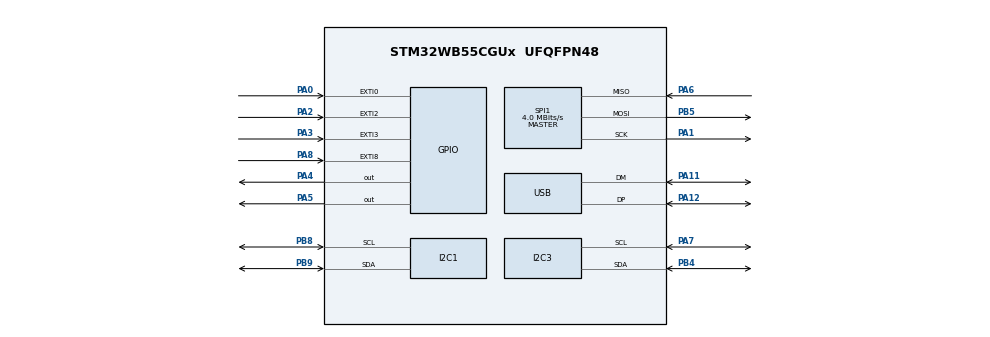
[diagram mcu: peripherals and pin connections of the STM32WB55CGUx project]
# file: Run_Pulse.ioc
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Dma.I2C1_RX.0.Direction=DMA_PERIPH_TO_MEMORY
Dma.I2C1_RX.0.EventEnable=DISABLE
Dma.I2C1_RX.0.Instance=DMA1_Channel1
Dma.I2C1_RX.0.MemDataAlignment=DMA_MDATAALIGN_BYTE
Dma.I2C1_RX.0.MemInc=DMA_MINC_ENABLE
Dma.I2C1_RX.0.Mode=DMA_NORMAL
Dma.I2C1_RX.0.PeriphDataAlignment=DMA_PDATAALIGN_BYTE
Dma.I2C1_RX.0.PeriphInc=DMA_PINC_DISABLE
Dma.I2C1_RX.0.Polarity=HAL_DMAMUX_REQ_GEN_RISING
Dma.I2C1_RX.0.Priority=DMA_PRIORITY_LOW
Dma.I2C1_RX.0.RequestNumber=1
Dma.I2C1_RX.0.SignalID=NONE
Dma.I2C1_RX.0.SyncEnable=DISABLE
Dma.I2C1_RX.0.SyncPolarity=HAL_DMAMUX_SYNC_NO_EVENT
Dma.I2C1_RX.0.SyncRequestNumber=1
Dma.I2C1_RX.0.SyncSignalID=NONE
Dma.I2C1_TX.1.Direction=DMA_MEMORY_TO_PERIPH
Dma.I2C1_TX.1.EventEnable=DISABLE
Dma.I2C1_TX.1.Instance=DMA1_Channel2
Dma.I2C1_TX.1.MemDataAlignment=DMA_MDATAALIGN_BYTE
Dma.I2C1_TX.1.MemInc=DMA_MINC_ENABLE
Dma.I2C1_TX.1.Mode=DMA_NORMAL
Dma.I2C1_TX.1.PeriphDataAlignment=DMA_PDATAALIGN_BYTE
Dma.I2C1_TX.1.PeriphInc=DMA_PINC_DISABLE
Dma.I2C1_TX.1.Polarity=HAL_DMAMUX_REQ_GEN_RISING
Dma.I2C1_TX.1.Priority=DMA_PRIORITY_LOW
Dma.I2C1_TX.1.RequestNumber=1
Dma.I2C1_TX.1.SignalID=NONE
Dma.I2C1_TX.1.SyncEnable=DISABLE
Dma.I2C1_TX.1.SyncPolarity=HAL_DMAMUX_SYNC_NO_EVENT
Dma.I2C1_TX.1.SyncRequestNumber=1
Dma.I2C1_TX.1.SyncSignalID=NONE
Dma.Request0=I2C1_RX
Dma.Request1=I2C1_TX
FREERTOS.Tasks01=defaultTask,24,128,StartDefaultTask,Default,NULL,Dynamic,NULL,NULL
FREERTOS.configTOTAL_HEAP_SIZE=160384
FREERTOS.configUSE_NEWLIB_REENTRANT=1
I2C1.Timing=0x10B17DB5
I2C3.Timing=0x10B17DB5
Mcu.Family=STM32WB
Mcu.Name=STM32WB55CGUx
Mcu.Package=UFQFPN48
NVIC.DMA1_Channel1_IRQn=true\:6\:0\:true\:false\:true\:true\:false\:true\:true
NVIC.DMA1_Channel2_IRQn=true\:6\:0\:true\:false\:true\:true\:false\:true\:true
NVIC.HSEM_IRQn=true\:5\:0\:false\:false\:true\:true\:false\:true\:true
NVIC.I2C1_ER_IRQn=true\:6\:0\:true\:false\:true\:true\:true\:true\:true
NVIC.I2C1_EV_IRQn=true\:6\:0\:true\:false\:true\:true\:true\:true\:true
NVIC.IPCC_C1_RX_IRQn=true\:5\:0\:false\:false\:true\:true\:true\:true\:true
NVIC.IPCC_C1_TX_IRQn=true\:5\:0\:false\:false\:true\:true\:true\:true\:true
NVIC.PriorityGroup=NVIC_PRIORITYGROUP_4
NVIC.RTC_WKUP_IRQn=true\:5\:0\:false\:false\:true\:true\:true\:true\:true
NVIC.TIM1_UP_TIM16_IRQn=true\:15\:0\:false\:false\:true\:false\:false\:true\:true
NVIC.TimeBase=TIM1_UP_TIM16_IRQn
NVIC.TimeBaseIP=TIM16
NVIC.USB_LP_IRQn=true\:5\:0\:true\:false\:true\:true\:false\:true\:true
OSC_IN.Mode=HSE-External-Oscillator
OSC_IN.Signal=RCC_OSC_IN
OSC_OUT.Mode=HSE-External-Oscillator
OSC_OUT.Signal=RCC_OSC_OUT
PA0.Signal=GPXTI0
PA1.Mode=Full_Duplex_Master
PA1.Signal=SPI1_SCK
PA11.Mode=Device
PA11.Signal=USB_DM
PA12.Mode=Device
PA12.Signal=USB_DP
PA13.Mode=Trace_Asynchronous_SW
PA13.Signal=SYS_JTMS-SWDIO
PA14.Mode=Trace_Asynchronous_SW
PA14.Signal=SYS_JTCK-SWCLK
PA2.Signal=GPXTI2
PA3.Signal=GPXTI3
PA4.PinState=GPIO_PIN_SET
PA4.Signal=GPIO_Output
PA5.Signal=GPIO_Output
PA6.Mode=Full_Duplex_Master
PA6.Signal=SPI1_MISO
PA7.Mode=I2C
PA7.Signal=I2C3_SCL
PA8.Signal=GPXTI8
PB3.Mode=Trace_Asynchronous_SW
PB3.Signal=SYS_JTDO-SWO
PB4.Mode=I2C
PB4.Signal=I2C3_SDA
PB5.Mode=Full_Duplex_Master
PB5.Signal=SPI1_MOSI
PB8.Mode=I2C
PB8.Signal=I2C1_SCL
PB9.Mode=I2C
PB9.Signal=I2C1_SDA
PC14-OSC32_IN.Mode=LSE-External-Oscillator
PC14-OSC32_IN.Signal=RCC_OSC32_IN
PC15-OSC32_OUT.Mode=LSE-External-Oscillator
PC15-OSC32_OUT.Signal=RCC_OSC32_OUT
ProjectManager.HeapSize=0x200
ProjectManager.StackSize=0x400
ProjectManager.TargetToolchain=STM32CubeIDE
RCC.ADCFreq_Value=48000000
RCC.AHB2CLKDivider=RCC_SYSCLK_DIV2
RCC.AHBFreq_Value=64000000
RCC.APB1Freq_Value=64000000
RCC.APB1TimFreq_Value=64000000
RCC.APB2Freq_Value=64000000
RCC.APB2TimFreq_Value=64000000
RCC.APB3Freq_Value=16000000
RCC.CortexFreq_Value=64000000
RCC.HCLKFreq_Value=64000000
RCC.HSE_VALUE=32000000
RCC.HSI48_VALUE=48000000
RCC.HSI_VALUE=16000000
RCC.PLLN=32
RCC.PLLSAI1N=24
RCC.SYSCLKFreq_VALUE=64000000
RCC.SYSCLKSource=RCC_SYSCLKSOURCE_PLLCLK
RCC.USBFreq_Value=48000000
RCC.VCOOutputFreq_Value=128000000
RF1.Mode=RF1_Activate
RF1.Signal=RF_RF1
SPI1.BaudRatePrescaler=SPI_BAUDRATEPRESCALER_16
SPI1.CalculateBaudRate=4.0 MBits/s
SPI1.DataSize=SPI_DATASIZE_8BIT
SPI1.Direction=SPI_DIRECTION_2LINES
SPI1.Mode=SPI_MODE_MASTER
SPI1.VirtualType=VM_MASTER
STM32_WPAN.AD_TYPE_COMPLETE_LOCAL_NAME=RunPulse
STM32_WPAN.BT_SIG_HEART_RATE_SENSOR=Disabled
STM32_WPAN.INCLUDE_AD_TYPE_COMPLETE_LOCAL_NAME=1
USB_DEVICE.CLASS_NAME_FS=CDC
USB_DEVICE.PRODUCT_STRING_CDC_FS=STM32 Virtual Port
USB_DEVICE.VirtualMode=Cdc
USB_DEVICE.VirtualModeFS=Cdc_FS
VP_FREERTOS_VS_CMSIS_V2.Mode=CMSIS_V2
VP_HSEM_VS_HSEM.Mode=HSEM_Activate
VP_IPCC_VS_IPCC.Mode=IPCC_Activate
VP_MEMORYMAP_VS_MEMORYMAP.Mode=CurAppReg
VP_RTC_VS_RTC_Activate.Mode=RTC_Enabled
VP_RTC_VS_RTC_WakeUp_intern.Mode=WakeUp
VP_STM32_WPAN_VS_BLE_HOST.Mode=STM32_WPAN_Enabled
VP_SYS_VS_tim16.Mode=TIM16
VP_TINY_LPM_VS_TINY_LPM.Mode=TINY_LPM_Enabled
VP_USB_DEVICE_VS_USB_DEVICE_CDC_FS.Mode=CDC_FS
board=custom

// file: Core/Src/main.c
/* USER CODE BEGIN Header */
/**
  ******************************************************************************
  * @file           : main.c
  * @brief          : Main program body
  ******************************************************************************
  * @attention
  *
  * Copyright (c) 2026 STMicroelectronics.
  * All rights reserved.
  *
  * This software is licensed under terms that can be found in the LICENSE file
  * in the root directory of this software component.
  * If no LICENSE file comes with this software, it is provided AS-IS.
  *
  ******************************************************************************
  */
/* USER CODE END Header */
#include "tasks.h"
#include "main.h"
#include "cmsis_os.h"
#include "usb_device.h"

/* USER CODE BEGIN Includes */
#include "usbd_cdc_if.h"
#include "ble.h"
#include "app_ble.h"
#include "custom_stm.h"
#include "string.h"
#include "stm32_lpm.h"
#include "math.h"

#include "sensor_objects.h"
#include "MAX30102_Callback.h"

//#include "max30102.h"
//#include "kx126.h"
//#include "ppg_algo.h"

extern USBD_HandleTypeDef hUsbDeviceFS;

/* USER CODE END Includes */

I2C_HandleTypeDef hi2c1;
I2C_HandleTypeDef hi2c3;
DMA_HandleTypeDef hdma_i2c1_rx;
DMA_HandleTypeDef hdma_i2c1_tx;

IPCC_HandleTypeDef hipcc;

RTC_HandleTypeDef hrtc;

SPI_HandleTypeDef hspi1;

/* Definitions for defaultTask */
osThreadId_t defaultTaskHandle;
const osThreadAttr_t defaultTask_attributes = {
  .name = "defaultTask",
  .priority = (osPriority_t) osPriorityNormal,
  .stack_size = 128 * 4
};
/* USER CODE BEGIN PV */
volatile uint8_t i2c_done = 0;
volatile uint8_t i2c_busy = 0;
volatile uint8_t usb_ready = 0;
char usb_buffer[64];

//#define SAMPLE_PERIOD_MS   100
//#define BLE_PERIOD_MS      50
//
//MAX30102_Sample_t sample;

/* USER CODE END PV */

void SystemClock_Config(void);
void PeriphCommonClock_Config(void);
static void MX_GPIO_Init(void);
static void MX_DMA_Init(void);
static void MX_I2C1_Init(void);
static void MX_I2C3_Init(void);
static void MX_SPI1_Init(void);
static void MX_IPCC_Init(void);
static void MX_RTC_Init(void);
static void MX_RF_Init(void);
void StartDefaultTask(void *argument);

/* USER CODE BEGIN 0 */

//#define MAX30102_ADDR (0x57 << 1)
//#define MAX17048_ADDR (0x36 << 1)
//
//
//
//
//uint8_t fifo_data[6];
//uint32_t red, ir;
//char msg[64];
//
//
//
//
//
//
//void MAX17048_Read_VCELL(void)
//{
//    uint8_t data[2];
//
//    if (HAL_I2C_Mem_Read(&hi2c3,
//                         MAX17048_ADDR,
//                         0x02,
//                         I2C_MEMADD_SIZE_8BIT,
//                         data,
//                         2,
//                         100) == HAL_OK)
//    {
//        uint16_t raw = (data[0] << 8) | data[1];
//
//        raw >>= 4;
//
//        uint32_t voltage_mV = (raw * 125) / 100;
//
//        snprintf(usb_buffer,
//                 sizeof(usb_buffer),
//                 "VCELL: %lu.%03lu V\r\n",
//                 voltage_mV / 1000,
//                 voltage_mV % 1000);
//    }
//    else
//    {
//        snprintf(usb_buffer,
//                 sizeof(usb_buffer),
//                 "VCELL READ FAIL\r\n");
//    }
//
//
//    CDC_Transmit_FS((uint8_t*)usb_buffer,
//                    strlen(usb_buffer));
//}
//
//void I2C_Check_MAX17048(void)
//{
//    char msg[64];
//
//    if (HAL_I2C_IsDeviceReady(&hi2c3, MAX17048_ADDR, 3, 100) == HAL_OK)
//    {
//        sprintf(msg, "MAX17048 FOUND (0x36)\r\n");
//    }
//    else
//    {
//        sprintf(msg, "MAX17048 NOT FOUND\r\n");
//    }
//
//    CDC_Transmit_FS((uint8_t*)msg, strlen(msg));
//}
//
//
//
//
//
static void BusyDelay(uint32_t ms)
{
    uint32_t start = HAL_GetTick();
    while ((HAL_GetTick() - start) < ms);
}
//
//uint8_t USB_IsConnected(void)
//{
//    return (hUsbDeviceFS.dev_state == USBD_STATE_CONFIGURED);
//}

/* USER CODE END 0 */

int main(void)
{

  /* MCU Configuration--------------------------------------------------------*/

  /* Reset of all peripherals, Initializes the Flash interface and the Systick. */
  HAL_Init();
  /* Config code for STM32_WPAN (HSE Tuning must be done before system clock configuration) */
  MX_APPE_Config();

  /* Configure the system clock */
  SystemClock_Config();

  /* Configure the peripherals common clocks */
  PeriphCommonClock_Config();

  /* IPCC initialisation */
  MX_IPCC_Init();

  /* Initialize all configured peripherals */
  MX_GPIO_Init();
  MX_DMA_Init();
  MX_I2C1_Init();
  MX_I2C3_Init();
  MX_SPI1_Init();
  MX_RTC_Init();
  MX_RF_Init();
  /* USER CODE BEGIN 2 */
  MX_USB_Device_Init();

  HAL_Delay(3000);

//  MAX30102_Init(&hi2c1);
//  KX126_Init();
//  PPG_Init();
//
//  uint8_t id;
//  id = KX126_ReadReg(KX126_WHO_AM_I);

  /* USER CODE END 2 */

  /* Init scheduler */
  osKernelInitialize();

  /* Create the thread(s) */
  /* creation of defaultTask */
  //defaultTaskHandle = osThreadNew(StartDefaultTask, NULL, &defaultTask_attributes);

  /* USER CODE BEGIN RTOS_THREADS */
  /* add threads, ... */
  AppTasks_Init();
  /* USER CODE END RTOS_THREADS */

  /* Init code for STM32_WPAN */
  MX_APPE_Init();

  /* Start scheduler */
  osKernelStart();

  /* We should never get here as control is now taken by the scheduler */

  /* Infinite loop */
  /* USER CODE BEGIN WHILE */
  while (1)
  {

//	  CDC_Transmit_FS((uint8_t*)"ALIVE\r\n", 7);
//	   HAL_Delay(1000);
//	  static uint32_t last_sample = 0;
//	  static uint32_t last_ble    = 0;
//	  static uint8_t  was_finger_present = 0;
//
//
//	  if (MAX30102_GetDmaState() == MAX30102_IDLE &&
//	          (HAL_GetTick() - last_sample >= SAMPLE_PERIOD_MS))
//	      {
//	          last_sample = HAL_GetTick();
//	          MAX30102_StartReadDMA();
//	      }
//
//
//	      if (MAX30102_GetDmaState() == MAX30102_DATA_READY)
//	      {
//	          MAX30102_GetLastSample(&sample);
//
//	          if (MAX30102_FingerPresent(&sample))
//	          	          {
//	          	              was_finger_present = 1;
//	          	              PPG_PushSample(sample.red, sample.ir);
//
//	          	              PPG_Result_t result = PPG_GetLastResult();
//
//	          	              uint8_t bleData[5];
//	          	              bleData[0] = result.heart_rate & 0xFF;
//	          	              bleData[1] = (result.heart_rate >> 8) & 0xFF;
//	          	              bleData[2] = result.spo2;
//	          	              bleData[3] = result.signal_quality;
//	          	              bleData[4] = result.valid;
//
//	          	              if ((HAL_GetTick() - last_ble >= BLE_PERIOD_MS) &&
//	          	                  (APP_BLE_Get_Server_Connection_Status() == APP_BLE_CONNECTED_SERVER))
//	          	              {
//	          	                  last_ble = HAL_GetTick();
//	          	                  Custom_STM_App_Update_Char(CUSTOM_STM_HR, bleData);
//	          	              }
//	          	          }
//	          	          else
//	          	          {
//	          	              if (was_finger_present) {
//	          	                  PPG_Init();
//	          	                  was_finger_present = 0;
//	          	              }
//
//	          	              uint8_t bleData[5] = {0, 0, 0, 0, 0};  // explicit "no finger" packet
//
//	          	              if ((HAL_GetTick() - last_ble >= BLE_PERIOD_MS) &&
//	          	                  (APP_BLE_Get_Server_Connection_Status() == APP_BLE_CONNECTED_SERVER))
//	          	              {
//	          	                  last_ble = HAL_GetTick();
//	          	                  Custom_STM_App_Update_Char(CUSTOM_STM_HR, bleData);
//	          	              }
//	          	          }
//	      }

	  //KX126
//	  static uint32_t last=0;
//
//	  int16_t x,y,z;
//
//
//	  if(HAL_GetTick()-last > 500)
//	  {
//
//	      last=HAL_GetTick();
//
//
//	      KX126_ReadAccel(&x,&y,&z);
//
//
//	      sprintf(usb_buffer,
//	              "X=%d Y=%d Z=%d\r\n",
//	              x,y,z);
//
//
//	      CDC_Transmit_FS((uint8_t*)usb_buffer,
//	                      strlen(usb_buffer));
//
//	  }

	     // MAX17048
//	     static uint32_t last_tick = 0;
//	     if (HAL_GetTick() - last_tick > 1000)
//	     {
//	         last_tick = HAL_GetTick();
//	         MAX17048_Read_VCELL();
//	     }

    /* USER CODE END WHILE */

    /* USER CODE BEGIN 3 */
	//MX_APPE_Process();
  }
  /* USER CODE END 3 */
}

void SystemClock_Config(void)
{
  RCC_OscInitTypeDef RCC_OscInitStruct = {0};
  RCC_ClkInitTypeDef RCC_ClkInitStruct = {0};

  /** Configure LSE Drive Capability
  */
  HAL_PWR_EnableBkUpAccess();
  __HAL_RCC_LSEDRIVE_CONFIG(RCC_LSEDRIVE_MEDIUMHIGH);

  /** Configure the main internal regulator output voltage
  */
  __HAL_PWR_VOLTAGESCALING_CONFIG(PWR_REGULATOR_VOLTAGE_SCALE1);

  /** Initializes the RCC Oscillators according to the specified parameters
  * in the RCC_OscInitTypeDef structure.
  */
  RCC_OscInitStruct.OscillatorType = RCC_OSCILLATORTYPE_HSI|RCC_OSCILLATORTYPE_LSI1
                              |RCC_OSCILLATORTYPE_HSE|RCC_OSCILLATORTYPE_LSE
                              |RCC_OSCILLATORTYPE_MSI;
  RCC_OscInitStruct.HSEState = RCC_HSE_ON;
  RCC_OscInitStruct.LSEState = RCC_LSE_ON;
  RCC_OscInitStruct.HSIState = RCC_HSI_ON;
  RCC_OscInitStruct.MSIState = RCC_MSI_ON;
  RCC_OscInitStruct.HSICalibrationValue = RCC_HSICALIBRATION_DEFAULT;
  RCC_OscInitStruct.MSICalibrationValue = RCC_MSICALIBRATION_DEFAULT;
  RCC_OscInitStruct.MSIClockRange = RCC_MSIRANGE_6;
  RCC_OscInitStruct.LSIState = RCC_LSI_ON;
  RCC_OscInitStruct.PLL.PLLState = RCC_PLL_ON;
  RCC_OscInitStruct.PLL.PLLSource = RCC_PLLSOURCE_MSI;
  RCC_OscInitStruct.PLL.PLLM = RCC_PLLM_DIV1;
  RCC_OscInitStruct.PLL.PLLN = 32;
  RCC_OscInitStruct.PLL.PLLP = RCC_PLLP_DIV2;
  RCC_OscInitStruct.PLL.PLLR = RCC_PLLR_DIV2;
  RCC_OscInitStruct.PLL.PLLQ = RCC_PLLQ_DIV2;
  if (HAL_RCC_OscConfig(&RCC_OscInitStruct) != HAL_OK)
  {
    Error_Handler();
  }

  /** Configure the SYSCLKSource, HCLK, PCLK1 and PCLK2 clocks dividers
  */
  RCC_ClkInitStruct.ClockType = RCC_CLOCKTYPE_HCLK4|RCC_CLOCKTYPE_HCLK2
                              |RCC_CLOCKTYPE_HCLK|RCC_CLOCKTYPE_SYSCLK
                              |RCC_CLOCKTYPE_PCLK1|RCC_CLOCKTYPE_PCLK2;
  RCC_ClkInitStruct.SYSCLKSource = RCC_SYSCLKSOURCE_PLLCLK;
  RCC_ClkInitStruct.AHBCLKDivider = RCC_SYSCLK_DIV1;
  RCC_ClkInitStruct.APB1CLKDivider = RCC_HCLK_DIV1;
  RCC_ClkInitStruct.APB2CLKDivider = RCC_HCLK_DIV1;
  RCC_ClkInitStruct.AHBCLK2Divider = RCC_SYSCLK_DIV2;
  RCC_ClkInitStruct.AHBCLK4Divider = RCC_SYSCLK_DIV1;

  if (HAL_RCC_ClockConfig(&RCC_ClkInitStruct, FLASH_LATENCY_3) != HAL_OK)
  {
    Error_Handler();
  }

  /** Enable MSI Auto calibration
  */
  HAL_RCCEx_EnableMSIPLLMode();
}

void PeriphCommonClock_Config(void)
{
  RCC_PeriphCLKInitTypeDef PeriphClkInitStruct = {0};

  /** Initializes the peripherals clock
  */
  PeriphClkInitStruct.PeriphClockSelection = RCC_PERIPHCLK_SMPS|RCC_PERIPHCLK_RFWAKEUP;
  PeriphClkInitStruct.RFWakeUpClockSelection = RCC_RFWKPCLKSOURCE_HSE_DIV1024;
  PeriphClkInitStruct.SmpsClockSelection = RCC_SMPSCLKSOURCE_HSI;
  PeriphClkInitStruct.SmpsDivSelection = RCC_SMPSCLKDIV_RANGE1;

  if (HAL_RCCEx_PeriphCLKConfig(&PeriphClkInitStruct) != HAL_OK)
  {
    Error_Handler();
  }
}

static void MX_I2C1_Init(void)
{

  hi2c1.Instance = I2C1;
  hi2c1.Init.Timing = 0x10B17DB5;
  hi2c1.Init.OwnAddress1 = 0;
  hi2c1.Init.AddressingMode = I2C_ADDRESSINGMODE_7BIT;
  hi2c1.Init.DualAddressMode = I2C_DUALADDRESS_DISABLE;
  hi2c1.Init.OwnAddress2 = 0;
  hi2c1.Init.OwnAddress2Masks = I2C_OA2_NOMASK;
  hi2c1.Init.GeneralCallMode = I2C_GENERALCALL_DISABLE;
  hi2c1.Init.NoStretchMode = I2C_NOSTRETCH_DISABLE;
  if (HAL_I2C_Init(&hi2c1) != HAL_OK)
  {
    Error_Handler();
  }

  /** Configure Analogue filter
  */
  if (HAL_I2CEx_ConfigAnalogFilter(&hi2c1, I2C_ANALOGFILTER_ENABLE) != HAL_OK)
  {
    Error_Handler();
  }

  /** Configure Digital filter
  */
  if (HAL_I2CEx_ConfigDigitalFilter(&hi2c1, 0) != HAL_OK)
  {
    Error_Handler();
  }

}

static void MX_I2C3_Init(void)
{

  hi2c3.Instance = I2C3;
  hi2c3.Init.Timing = 0x10B17DB5;
  hi2c3.Init.OwnAddress1 = 0;
  hi2c3.Init.AddressingMode = I2C_ADDRESSINGMODE_7BIT;
  hi2c3.Init.DualAddressMode = I2C_DUALADDRESS_DISABLE;
  hi2c3.Init.OwnAddress2 = 0;
  hi2c3.Init.OwnAddress2Masks = I2C_OA2_NOMASK;
  hi2c3.Init.GeneralCallMode = I2C_GENERALCALL_DISABLE;
  hi2c3.Init.NoStretchMode = I2C_NOSTRETCH_DISABLE;
  if (HAL_I2C_Init(&hi2c3) != HAL_OK)
  {
    Error_Handler();
  }

  /** Configure Analogue filter
  */
  if (HAL_I2CEx_ConfigAnalogFilter(&hi2c3, I2C_ANALOGFILTER_ENABLE) != HAL_OK)
  {
    Error_Handler();
  }

  /** Configure Digital filter
  */
  if (HAL_I2CEx_ConfigDigitalFilter(&hi2c3, 0) != HAL_OK)
  {
    Error_Handler();
  }

}

static void MX_IPCC_Init(void)
{

  hipcc.Instance = IPCC;
  if (HAL_IPCC_Init(&hipcc) != HAL_OK)
  {
    Error_Handler();
  }

}

static void MX_RF_Init(void)
{

}

static void MX_RTC_Init(void)
{

  /** Initialize RTC Only
  */
  hrtc.Instance = RTC;
  hrtc.Init.HourFormat = RTC_HOURFORMAT_24;
  hrtc.Init.AsynchPrediv = CFG_RTC_ASYNCH_PRESCALER;
  hrtc.Init.SynchPrediv = CFG_RTC_SYNCH_PRESCALER;
  hrtc.Init.OutPut = RTC_OUTPUT_DISABLE;
  hrtc.Init.OutPutPolarity = RTC_OUTPUT_POLARITY_HIGH;
  hrtc.Init.OutPutType = RTC_OUTPUT_TYPE_OPENDRAIN;
  hrtc.Init.OutPutRemap = RTC_OUTPUT_REMAP_NONE;
  if (HAL_RTC_Init(&hrtc) != HAL_OK)
  {
    Error_Handler();
  }

  /** Enable the WakeUp
  */
  if (HAL_RTCEx_SetWakeUpTimer_IT(&hrtc, 0, RTC_WAKEUPCLOCK_RTCCLK_DIV16) != HAL_OK)
  {
    Error_Handler();
  }

}

static void MX_SPI1_Init(void)
{

  /* SPI1 parameter configuration*/
  hspi1.Instance = SPI1;
  hspi1.Init.Mode = SPI_MODE_MASTER;
  hspi1.Init.Direction = SPI_DIRECTION_2LINES;
  hspi1.Init.DataSize = SPI_DATASIZE_8BIT;
  hspi1.Init.CLKPolarity = SPI_POLARITY_LOW;
  hspi1.Init.CLKPhase = SPI_PHASE_1EDGE;
  hspi1.Init.NSS = SPI_NSS_SOFT;
  hspi1.Init.BaudRatePrescaler = SPI_BAUDRATEPRESCALER_16;
  hspi1.Init.FirstBit = SPI_FIRSTBIT_MSB;
  hspi1.Init.TIMode = SPI_TIMODE_DISABLE;
  hspi1.Init.CRCCalculation = SPI_CRCCALCULATION_DISABLE;
  hspi1.Init.CRCPolynomial = 7;
  hspi1.Init.CRCLength = SPI_CRC_LENGTH_DATASIZE;
  hspi1.Init.NSSPMode = SPI_NSS_PULSE_ENABLE;
  if (HAL_SPI_Init(&hspi1) != HAL_OK)
  {
    Error_Handler();
  }

}

static void MX_DMA_Init(void)
{

  /* DMA controller clock enable */
  __HAL_RCC_DMAMUX1_CLK_ENABLE();
  __HAL_RCC_DMA1_CLK_ENABLE();

  /* DMA interrupt init */
  /* DMA1_Channel1_IRQn interrupt configuration */
  HAL_NVIC_SetPriority(DMA1_Channel1_IRQn, 6, 0);
  HAL_NVIC_EnableIRQ(DMA1_Channel1_IRQn);
  /* DMA1_Channel2_IRQn interrupt configuration */
  HAL_NVIC_SetPriority(DMA1_Channel2_IRQn, 6, 0);
  HAL_NVIC_EnableIRQ(DMA1_Channel2_IRQn);

}

static void MX_GPIO_Init(void)
{
  GPIO_InitTypeDef GPIO_InitStruct = {0};

  /* GPIO Ports Clock Enable */
  __HAL_RCC_GPIOC_CLK_ENABLE();
  __HAL_RCC_GPIOB_CLK_ENABLE();
  __HAL_RCC_GPIOA_CLK_ENABLE();

  /*Configure GPIO pin Output Level */
  HAL_GPIO_WritePin(GPIOA, GPIO_PIN_4, GPIO_PIN_SET);

  /*Configure GPIO pin Output Level */
  HAL_GPIO_WritePin(GPIOA, GPIO_PIN_5, GPIO_PIN_RESET);

  /*Configure GPIO pins : PA0 PA2 PA3 PA8 */
  GPIO_InitStruct.Pin = GPIO_PIN_0|GPIO_PIN_2|GPIO_PIN_3|GPIO_PIN_8;
  GPIO_InitStruct.Mode = GPIO_MODE_IT_RISING;
  GPIO_InitStruct.Pull = GPIO_NOPULL;
  HAL_GPIO_Init(GPIOA, &GPIO_InitStruct);

  /*Configure GPIO pins : PA4 PA5 */
  GPIO_InitStruct.Pin = GPIO_PIN_4|GPIO_PIN_5;
  GPIO_InitStruct.Mode = GPIO_MODE_OUTPUT_PP;
  GPIO_InitStruct.Pull = GPIO_NOPULL;
  GPIO_InitStruct.Speed = GPIO_SPEED_FREQ_LOW;
  HAL_GPIO_Init(GPIOA, &GPIO_InitStruct);

}

/* USER CODE BEGIN 4 */

#include "MAX30102_Callback.h"

void HAL_I2C_MemRxCpltCallback(I2C_HandleTypeDef *hi2c)
{

//    CDC_Transmit_FS(
//        (uint8_t*)"I2C RX CALLBACK\r\n",
//        19
//    );

    MAX30102_I2C_Callback(hi2c);

}

/* USER CODE END 4 */

//void StartDefaultTask(void *argument)
//{
//  /* init code for USB_Device */
//  MX_USB_Device_Init();
//  /* USER CODE BEGIN 5 */
//  /* Infinite loop */
//  for(;;)
//  {
//    osDelay(1);
//  }
//  /* USER CODE END 5 */
//}

void HAL_TIM_PeriodElapsedCallback(TIM_HandleTypeDef *htim)
{
  if (htim->Instance == TIM16)
  {
    HAL_IncTick();
  }
}

void Error_Handler(void)
{
  __disable_irq();
  while (1)
  {
  }
}
